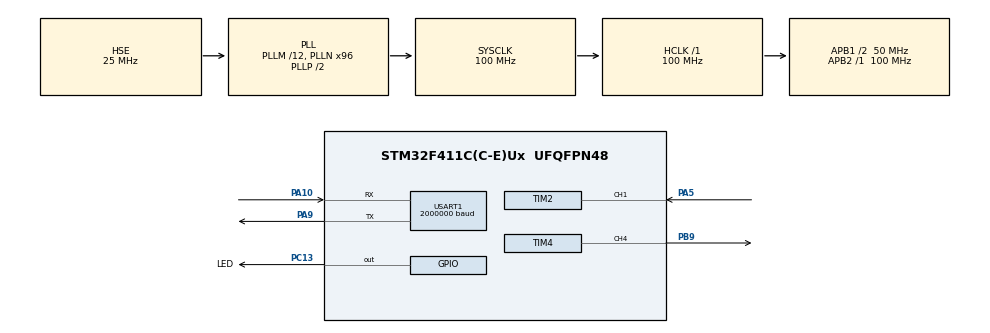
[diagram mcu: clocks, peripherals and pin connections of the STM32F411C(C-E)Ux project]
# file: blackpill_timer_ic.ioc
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Mcu.Family=STM32F4
Mcu.Name=STM32F411C(C-E)Ux
Mcu.Package=UFQFPN48
NVIC.PriorityGroup=NVIC_PRIORITYGROUP_4
NVIC.TIM2_IRQn=true\:0\:0\:false\:false\:true\:true\:true\:true
PA10.Mode=Asynchronous
PA10.Signal=USART1_RX
PA13.Mode=Trace_Asynchronous_SW
PA13.Signal=SYS_JTMS-SWDIO
PA14.Mode=Trace_Asynchronous_SW
PA14.Signal=SYS_JTCK-SWCLK
PA5.Signal=S_TIM2_CH1_ETR
PA9.Mode=Asynchronous
PA9.Signal=USART1_TX
PB3.Mode=Trace_Asynchronous_SW
PB3.Signal=SYS_JTDO-SWO
PB9.Signal=S_TIM4_CH4
PC13-ANTI_TAMP.GPIO_Label=LED
PC13-ANTI_TAMP.GPIO_ModeDefaultOutputPP=GPIO_MODE_OUTPUT_PP
PC13-ANTI_TAMP.GPIO_PuPd=GPIO_NOPULL
PC13-ANTI_TAMP.PinState=GPIO_PIN_SET
PC13-ANTI_TAMP.Signal=GPIO_Output
PH0\ -\ OSC_IN.Mode=HSE-External-Oscillator
PH0\ -\ OSC_IN.Signal=RCC_OSC_IN
PH1\ -\ OSC_OUT.Mode=HSE-External-Oscillator
PH1\ -\ OSC_OUT.Signal=RCC_OSC_OUT
ProjectManager.HeapSize=0x200
ProjectManager.StackSize=0x400
ProjectManager.TargetToolchain=STM32CubeIDE
RCC.48MHZClocksFreq_Value=50000000
RCC.AHBFreq_Value=100000000
RCC.APB1CLKDivider=RCC_HCLK_DIV2
RCC.APB1Freq_Value=50000000
RCC.APB1TimFreq_Value=100000000
RCC.APB2Freq_Value=100000000
RCC.APB2TimFreq_Value=100000000
RCC.CortexFreq_Value=100000000
RCC.HCLKFreq_Value=100000000
RCC.HSE_VALUE=25000000
RCC.HSI_VALUE=16000000
RCC.LSE_VALUE=32768
RCC.PLLM=12
RCC.PLLN=96
RCC.PLLSourceVirtual=RCC_PLLSOURCE_HSE
RCC.SYSCLKFreq_VALUE=100000000
RCC.SYSCLKSource=RCC_SYSCLKSOURCE_PLLCLK
RCC.VCOOutputFreq_Value=200000000
SH.S_TIM2_CH1_ETR.0=TIM2_CH1,PWM_Input_1
SH.S_TIM4_CH4.0=TIM4_CH4,PWM Generation4 CH4
TIM4.Channel-PWM\ Generation4\ CH4=TIM_CHANNEL_4
TIM4.Period=99
USART1.BaudRate=2000000
USART1.VirtualMode=VM_ASYNC
VP_TIM2_VS_ClockSourceINT.Mode=Internal
VP_TIM4_VS_ClockSourceINT.Mode=Internal
board=custom

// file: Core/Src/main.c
/* USER CODE BEGIN Header */
/**
 ******************************************************************************
 * @file           : main.c
 * @brief          : Main program body
 ******************************************************************************
 * @attention
 *
 * Copyright (c) 2024 Lars Boegild Thomsen <lth@stm32world.com>
 * All rights reserved.
 *
 * This software is licensed under terms that can be found in the LICENSE file
 * in the root directory of this software component.
 * If no LICENSE file comes with this software, it is provided AS-IS.
 *
 ******************************************************************************
 */
/* USER CODE END Header */
#include "main.h"

/* USER CODE BEGIN Includes */
#include <stdio.h>
/* USER CODE END Includes */

/* USER CODE BEGIN PD */
#define TICK_DELAY 1000
#define TIMER_CLOCK_FREQ 100000000
/* USER CODE END PD */

TIM_HandleTypeDef htim2;
TIM_HandleTypeDef htim4;

UART_HandleTypeDef huart1;

/* USER CODE BEGIN PV */

// Define some test pwm values - first column is prescaler value for pwm and second row is duty cycle (of 1000)
uint32_t pwm_vals[][2] = {
        //{ 0, 50 },
        { 19999, 10 },
        { 19999, 50 },
        { 19999, 90 },
        { 9999, 10 },
        { 9999, 50 },
        { 9999, 90 },
        { 999, 10 },
        { 999, 50 },
        { 999, 90 },
        { 99, 10 },
        { 99, 50 },
        { 99, 90 },
        { 49, 10 },
        { 49, 50 },
        { 49, 90 },
        { 24, 10 },
        { 24, 50 },
        { 24, 90 },
        { 9, 10 },
        { 9, 50 },
        { 9, 90 },
        { 4, 10 },
        { 4, 50 },
        { 4, 90 },
        { 2, 10 },
        { 2, 50 },
        { 2, 90 },
        { 1, 10 },
        { 1, 50 },
        { 1, 90 }
};

// Used to cycle around the pwm values
uint32_t pwm_vals_idx = 0;

// Will be calculated in interrupt callback
uint32_t cnt_full = 0;
uint32_t cnt_high = 0;
float freq = 0;
float duty = 0;

/* USER CODE END PV */

void SystemClock_Config(void);
static void MX_GPIO_Init(void);
static void MX_USART1_UART_Init(void);
static void MX_TIM4_Init(void);
static void MX_TIM2_Init(void);

/* USER CODE BEGIN 0 */

// Send printf to uart1
int _write(int fd, char *ptr, int len) {
    HAL_StatusTypeDef hstatus;

    if (fd == 1 || fd == 2) {
        hstatus = HAL_UART_Transmit(&huart1, (uint8_t*) ptr, len, HAL_MAX_DELAY);
        if (hstatus == HAL_OK)
            return len;
        else
            return -1;
    }
    return -1;
}

void HAL_TIM_IC_CaptureCallback(TIM_HandleTypeDef *htim) {
    if (htim->Instance == TIM2) {
        cnt_full = HAL_TIM_ReadCapturedValue(htim, TIM_CHANNEL_1) + 2;
        cnt_high = HAL_TIM_ReadCapturedValue(htim, TIM_CHANNEL_2) + 2;
    }
}

/* USER CODE END 0 */

int main(void)
{

    /* MCU Configuration--------------------------------------------------------*/

    /* Reset of all peripherals, Initializes the Flash interface and the Systick. */
    HAL_Init();

    /* Configure the system clock */
    SystemClock_Config();

    /* Initialize all configured peripherals */
    MX_GPIO_Init();
    MX_USART1_UART_Init();
    MX_TIM4_Init();
    MX_TIM2_Init();
    /* USER CODE BEGIN 2 */

    printf("\n\n\nStarting blackpill_timer_ic\n");

    printf("Firing up PWM\n");
    HAL_TIM_PWM_Start(&htim4, TIM_CHANNEL_4);   // Output PWM Generation

    printf("Firing up PWM Input Capture\n");
    HAL_TIM_IC_Start_IT(&htim2, TIM_CHANNEL_1); // Primary channel - rising edge - rinse and repeat
    HAL_TIM_IC_Start(&htim2, TIM_CHANNEL_2);    // Secondary channel - falling edge - stop second counter

    /* USER CODE END 2 */

    /* Infinite loop */
    /* USER CODE BEGIN WHILE */

    uint32_t now = 0, loop_cnt = 0, next_blink = 500, next_tick = TICK_DELAY, next_change = 0;

    while (1)
    {

        now = uwTick;

        if (now >= next_blink) {
            HAL_GPIO_TogglePin(LED_GPIO_Port, LED_Pin);
            next_blink = now + 500;
        }

        if (now >= next_tick) {

            float freq = (float) TIMER_CLOCK_FREQ / (cnt_full);
            float duty = (float) 100 * cnt_high / cnt_full;

            printf("Tick %5lu count = %8lu freq = %10.2f Hz duty = %7.2f %%\n", now / 1000, cnt_full, freq, duty);

            loop_cnt = 0;
            next_tick = now + TICK_DELAY;
        }

        if (now >= next_change) {

            printf("Setting prescaler = %lu compare = %lu\n", pwm_vals[pwm_vals_idx][0], pwm_vals[pwm_vals_idx][1]);

            __HAL_TIM_SET_PRESCALER(&htim4, pwm_vals[pwm_vals_idx][0]);
            __HAL_TIM_SET_COMPARE(&htim4, TIM_CHANNEL_4, pwm_vals[pwm_vals_idx][1]);

            ++pwm_vals_idx;
            if (pwm_vals_idx >= sizeof(pwm_vals) / sizeof(pwm_vals[0])) {
                pwm_vals_idx = 0;
            }

            next_change = now + 10000;
        }

        ++loop_cnt;

        /* USER CODE END WHILE */

    }
}

void SystemClock_Config(void)
{
    RCC_OscInitTypeDef RCC_OscInitStruct = { 0 };
    RCC_ClkInitTypeDef RCC_ClkInitStruct = { 0 };

    /** Configure the main internal regulator output voltage
     */
    __HAL_RCC_PWR_CLK_ENABLE();
    __HAL_PWR_VOLTAGESCALING_CONFIG(PWR_REGULATOR_VOLTAGE_SCALE1);

    /** Initializes the RCC Oscillators according to the specified parameters
     * in the RCC_OscInitTypeDef structure.
     */
    RCC_OscInitStruct.OscillatorType = RCC_OSCILLATORTYPE_HSE;
    RCC_OscInitStruct.HSEState = RCC_HSE_ON;
    RCC_OscInitStruct.PLL.PLLState = RCC_PLL_ON;
    RCC_OscInitStruct.PLL.PLLSource = RCC_PLLSOURCE_HSE;
    RCC_OscInitStruct.PLL.PLLM = 12;
    RCC_OscInitStruct.PLL.PLLN = 96;
    RCC_OscInitStruct.PLL.PLLP = RCC_PLLP_DIV2;
    RCC_OscInitStruct.PLL.PLLQ = 4;
    if (HAL_RCC_OscConfig(&RCC_OscInitStruct) != HAL_OK)
            {
        Error_Handler();
    }

    /** Initializes the CPU, AHB and APB buses clocks
     */
    RCC_ClkInitStruct.ClockType = RCC_CLOCKTYPE_HCLK | RCC_CLOCKTYPE_SYSCLK
            | RCC_CLOCKTYPE_PCLK1 | RCC_CLOCKTYPE_PCLK2;
    RCC_ClkInitStruct.SYSCLKSource = RCC_SYSCLKSOURCE_PLLCLK;
    RCC_ClkInitStruct.AHBCLKDivider = RCC_SYSCLK_DIV1;
    RCC_ClkInitStruct.APB1CLKDivider = RCC_HCLK_DIV2;
    RCC_ClkInitStruct.APB2CLKDivider = RCC_HCLK_DIV1;

    if (HAL_RCC_ClockConfig(&RCC_ClkInitStruct, FLASH_LATENCY_3) != HAL_OK)
            {
        Error_Handler();
    }
}

static void MX_TIM2_Init(void)
{

    TIM_ClockConfigTypeDef sClockSourceConfig = { 0 };
    TIM_SlaveConfigTypeDef sSlaveConfig = { 0 };
    TIM_IC_InitTypeDef sConfigIC = { 0 };
    TIM_MasterConfigTypeDef sMasterConfig = { 0 };

    htim2.Instance = TIM2;
    htim2.Init.Prescaler = 0;
    htim2.Init.CounterMode = TIM_COUNTERMODE_UP;
    htim2.Init.Period = 4294967295;
    htim2.Init.ClockDivision = TIM_CLOCKDIVISION_DIV1;
    htim2.Init.AutoReloadPreload = TIM_AUTORELOAD_PRELOAD_DISABLE;
    if (HAL_TIM_Base_Init(&htim2) != HAL_OK)
            {
        Error_Handler();
    }
    sClockSourceConfig.ClockSource = TIM_CLOCKSOURCE_INTERNAL;
    if (HAL_TIM_ConfigClockSource(&htim2, &sClockSourceConfig) != HAL_OK)
            {
        Error_Handler();
    }
    if (HAL_TIM_IC_Init(&htim2) != HAL_OK)
            {
        Error_Handler();
    }
    sSlaveConfig.SlaveMode = TIM_SLAVEMODE_RESET;
    sSlaveConfig.InputTrigger = TIM_TS_TI1FP1;
    sSlaveConfig.TriggerPolarity = TIM_INPUTCHANNELPOLARITY_RISING;
    sSlaveConfig.TriggerPrescaler = TIM_ICPSC_DIV1;
    sSlaveConfig.TriggerFilter = 0;
    if (HAL_TIM_SlaveConfigSynchro(&htim2, &sSlaveConfig) != HAL_OK)
            {
        Error_Handler();
    }
    sConfigIC.ICPolarity = TIM_INPUTCHANNELPOLARITY_RISING;
    sConfigIC.ICSelection = TIM_ICSELECTION_DIRECTTI;
    sConfigIC.ICPrescaler = TIM_ICPSC_DIV1;
    sConfigIC.ICFilter = 0;
    if (HAL_TIM_IC_ConfigChannel(&htim2, &sConfigIC, TIM_CHANNEL_1) != HAL_OK)
            {
        Error_Handler();
    }
    sConfigIC.ICPolarity = TIM_INPUTCHANNELPOLARITY_FALLING;
    sConfigIC.ICSelection = TIM_ICSELECTION_INDIRECTTI;
    if (HAL_TIM_IC_ConfigChannel(&htim2, &sConfigIC, TIM_CHANNEL_2) != HAL_OK)
            {
        Error_Handler();
    }
    sMasterConfig.MasterOutputTrigger = TIM_TRGO_RESET;
    sMasterConfig.MasterSlaveMode = TIM_MASTERSLAVEMODE_DISABLE;
    if (HAL_TIMEx_MasterConfigSynchronization(&htim2, &sMasterConfig) != HAL_OK)
            {
        Error_Handler();
    }

}

static void MX_TIM4_Init(void)
{

    TIM_ClockConfigTypeDef sClockSourceConfig = { 0 };
    TIM_MasterConfigTypeDef sMasterConfig = { 0 };
    TIM_OC_InitTypeDef sConfigOC = { 0 };

    htim4.Instance = TIM4;
    htim4.Init.Prescaler = 0;
    htim4.Init.CounterMode = TIM_COUNTERMODE_UP;
    htim4.Init.Period = 99;
    htim4.Init.ClockDivision = TIM_CLOCKDIVISION_DIV1;
    htim4.Init.AutoReloadPreload = TIM_AUTORELOAD_PRELOAD_DISABLE;
    if (HAL_TIM_Base_Init(&htim4) != HAL_OK)
            {
        Error_Handler();
    }
    sClockSourceConfig.ClockSource = TIM_CLOCKSOURCE_INTERNAL;
    if (HAL_TIM_ConfigClockSource(&htim4, &sClockSourceConfig) != HAL_OK)
            {
        Error_Handler();
    }
    if (HAL_TIM_PWM_Init(&htim4) != HAL_OK)
            {
        Error_Handler();
    }
    sMasterConfig.MasterOutputTrigger = TIM_TRGO_RESET;
    sMasterConfig.MasterSlaveMode = TIM_MASTERSLAVEMODE_DISABLE;
    if (HAL_TIMEx_MasterConfigSynchronization(&htim4, &sMasterConfig) != HAL_OK)
            {
        Error_Handler();
    }
    sConfigOC.OCMode = TIM_OCMODE_PWM1;
    sConfigOC.Pulse = 0;
    sConfigOC.OCPolarity = TIM_OCPOLARITY_HIGH;
    sConfigOC.OCFastMode = TIM_OCFAST_DISABLE;
    if (HAL_TIM_PWM_ConfigChannel(&htim4, &sConfigOC, TIM_CHANNEL_4) != HAL_OK)
            {
        Error_Handler();
    }
    HAL_TIM_MspPostInit(&htim4);

}

static void MX_USART1_UART_Init(void)
{

    huart1.Instance = USART1;
    huart1.Init.BaudRate = 2000000;
    huart1.Init.WordLength = UART_WORDLENGTH_8B;
    huart1.Init.StopBits = UART_STOPBITS_1;
    huart1.Init.Parity = UART_PARITY_NONE;
    huart1.Init.Mode = UART_MODE_TX_RX;
    huart1.Init.HwFlowCtl = UART_HWCONTROL_NONE;
    huart1.Init.OverSampling = UART_OVERSAMPLING_16;
    if (HAL_UART_Init(&huart1) != HAL_OK)
            {
        Error_Handler();
    }

}

static void MX_GPIO_Init(void)
{
    GPIO_InitTypeDef GPIO_InitStruct = { 0 };

    /* GPIO Ports Clock Enable */
    __HAL_RCC_GPIOC_CLK_ENABLE();
    __HAL_RCC_GPIOH_CLK_ENABLE();
    __HAL_RCC_GPIOA_CLK_ENABLE();
    __HAL_RCC_GPIOB_CLK_ENABLE();

    /*Configure GPIO pin Output Level */
    HAL_GPIO_WritePin(LED_GPIO_Port, LED_Pin, GPIO_PIN_SET);

    /*Configure GPIO pin : LED_Pin */
    GPIO_InitStruct.Pin = LED_Pin;
    GPIO_InitStruct.Mode = GPIO_MODE_OUTPUT_PP;
    GPIO_InitStruct.Pull = GPIO_NOPULL;
    GPIO_InitStruct.Speed = GPIO_SPEED_FREQ_LOW;
    HAL_GPIO_Init(LED_GPIO_Port, &GPIO_InitStruct);

}

void Error_Handler(void)
{
    __disable_irq();
    while (1)
    {
    }
}
